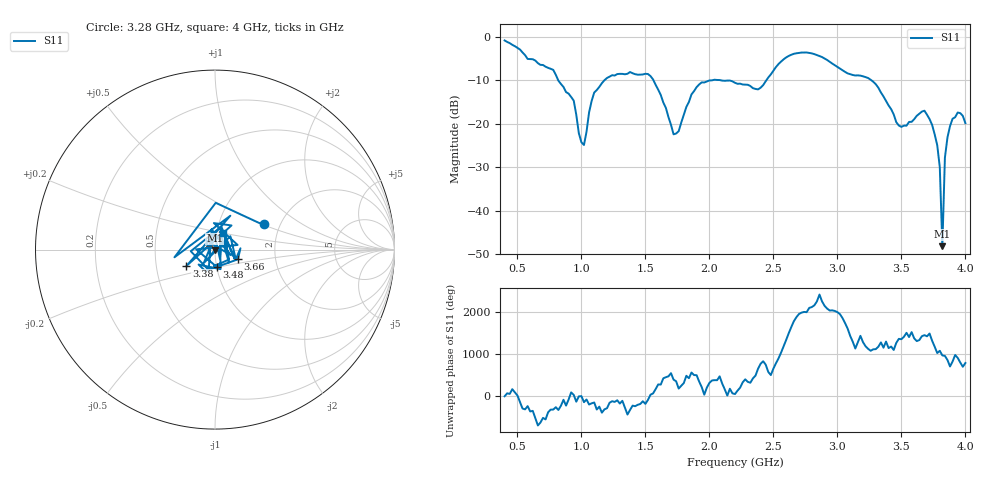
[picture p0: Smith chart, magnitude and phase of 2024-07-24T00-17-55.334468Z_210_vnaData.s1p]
!Created with skrf (http://scikit-rf.org).
# Hz S RI R 50.0
!freq ReS11 ImS11
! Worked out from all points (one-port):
!   181 points, 400 MHz to 4 GHz, reference 50 ohm
!   lowest |S11| = -48.1 dB at 3.82 GHz (marker M1), VSWR 1.01, Z = 49.8 - j0.344 ohm
!   |S11| at or under -10 dB: 819.5 MHz to 1.178 GHz (358.9 MHz wide, 35.9 % of centre); 1.564 GHz to 2 GHz (436.1 MHz wide, 24.5 % of centre); 3.267 GHz to end of sweep (the widest 3 of 4)
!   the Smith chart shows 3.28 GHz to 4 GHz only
!   S11 on the Smith chart (normalised r, x): 3.28 GHz: 1.65, +0.51; 3.38 GHz: 0.71, -0.14; 3.48 GHz: 1.00, -0.19; 3.66 GHz: 1.28, -0.14; 4 GHz: 1.08, +0.20
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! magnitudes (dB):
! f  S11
! 400 MHz  -0.8
! 860 MHz  -11.5
! 940 MHz  -14.6
! 980 MHz  -22.2
! 1.02 GHz  -24.9
! 1.1 GHz  -12.8
! 1.3 GHz  -8.5
! 1.54 GHz  -9.0
! 1.72 GHz  -22.4
! 1.76 GHz  -21.7
! 1.92 GHz  -10.9
! 2.2 GHz  -10.5
! 2.38 GHz  -12.1
! 2.66 GHz  -3.9
! 3.1 GHz  -8.5
! 3.28 GHz  -10.3
! 3.38 GHz  -14.7
! 3.48 GHz  -20.4
! 3.56 GHz  -19.5
! 3.66 GHz  -17.2
! 3.72 GHz  -18.9
! 3.78 GHz  -24.9
! 3.8 GHz  -30.0
! 3.82 GHz  -48.1
! 3.84 GHz  -27.8
! 3.86 GHz  -23.1
! 3.94 GHz  -17.4
! 4 GHz  -19.8
